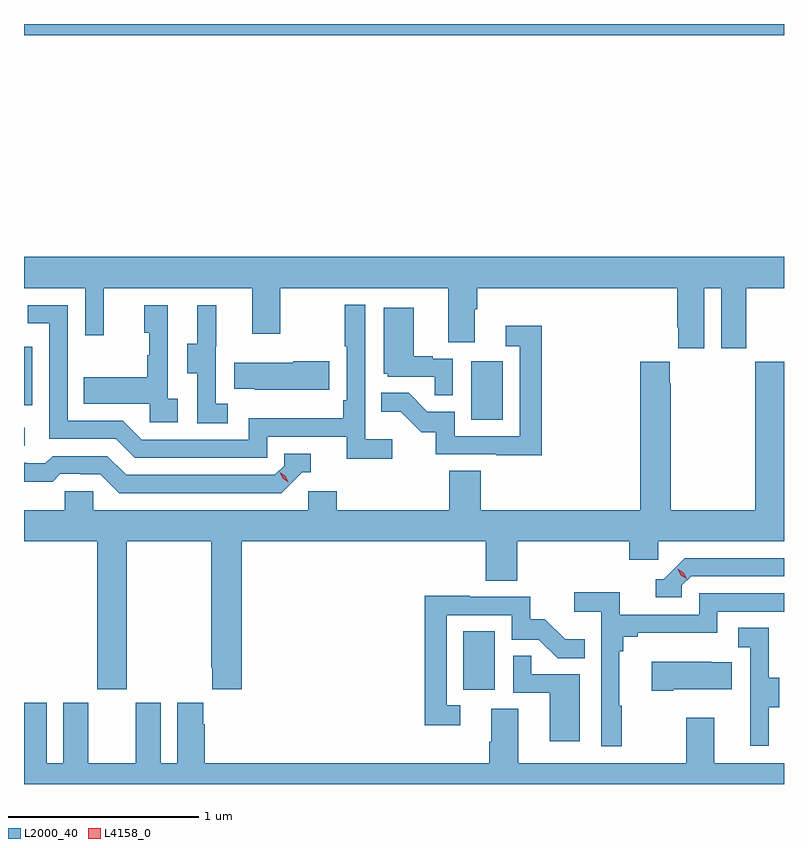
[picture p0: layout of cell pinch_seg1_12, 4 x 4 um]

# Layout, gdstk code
import gdstk
lib = gdstk.Library(unit=1e-6, precision=1e-09)
def R(c, l, rs):  # rectangles x0, y0, x1, y1
    for r in rs: c.add(gdstk.rectangle(r[:2], r[2:], *l))
def P(c, l, *ps):  # polygons
    for p in ps: c.add(gdstk.Polygon(p, *l))
L2000_40 = (2000, 40)
L4158_0 = (4158, 0)

pinch_seg1_12 = lib.new_cell('pinch_seg1_12')
R(pinch_seg1_12, L2000_40, [(1116.59,580.254,1116.754,580.561), (1114.277,581.538,1114.282,581.634), (1116.632,581.676,1116.796,581.983), (1114.277,581.751,1114.32,582.06), (1114.277,583.7,1118.277,583.758)])
P(pinch_seg1_12, L2000_40, [(1117.858,582.368),(1117.946,582.368),(1117.946,582.051),(1118.077,582.051),(1118.077,582.368),(1118.277,582.368),(1118.277,582.532),(1114.277,582.532),(1114.277,582.368),(1114.599,582.368),(1114.599,582.12),(1114.697,582.12),(1114.697,582.368),(1115.477,582.368),(1115.477,582.129),(1115.625,582.129),(1115.625,582.368),(1116.509,582.368),(1116.509,582.082),(1116.649,582.082),(1116.649,582.256),(1116.662,582.256),(1116.662,582.368),(1117.715,582.368),(1117.715,582.163),(1117.721,582.163),(1117.721,582.051),(1117.858,582.051)],
  [(1116.214,581.572),(1116.072,581.572),(1116.072,582.28),(1115.964,582.28),(1115.964,582.061),(1115.976,582.061),(1115.976,581.779),(1115.956,581.779),(1115.956,581.683),(1115.46,581.683),(1115.46,581.571),(1114.896,581.571),(1114.797,581.67),(1114.506,581.67),(1114.506,582.279),(1114.297,582.279),(1114.297,582.183),(1114.41,582.183),(1114.41,581.574),(1114.76,581.574),(1114.859,581.475),(1115.556,581.475),(1115.556,581.586),(1115.975,581.586),(1115.975,581.47),(1116.214,581.47)],
  [(1115.35,581.759),(1115.286,581.759),(1115.286,582.063),(1115.288,582.063),(1115.288,582.277),(1115.189,582.277),(1115.189,582.075),(1115.135,582.075),(1115.135,581.92),(1115.19,581.92),(1115.19,581.656),(1115.35,581.656)],
  [(1115.086,581.786),(1115.034,581.786),(1115.034,582.277),(1114.91,582.277),(1114.91,582.132),(1114.936,582.132),(1114.936,582.014),(1114.926,582.014),(1114.926,581.899),(1114.591,581.899),(1114.591,581.759),(1114.938,581.759),(1114.938,581.661),(1115.086,581.661)],
  [(1116.534,581.997),(1116.428,581.997),(1116.428,582.01),(1116.328,582.01),(1116.328,582.265),(1116.17,582.265),(1116.17,581.916),(1116.192,581.916),(1116.192,581.901),(1116.439,581.901),(1116.439,581.803),(1116.534,581.803)],
  [(1117.001,582.169),(1116.813,582.169),(1116.813,582.063),(1116.885,582.063),(1116.885,581.589),(1116.543,581.589),(1116.543,581.718),(1116.399,581.718),(1116.301,581.816),(1116.157,581.816),(1116.157,581.717),(1116.261,581.717),(1116.368,581.61),(1116.445,581.61),(1116.445,581.493),(1116.763,581.493),(1116.763,581.488),(1117.001,581.488)],
  [(1115.884,581.982),(1115.693,581.982),(1115.693,581.974),(1115.383,581.974),(1115.383,581.837),(1115.491,581.837),(1115.491,581.834),(1115.884,581.834)],
  [(1114.818,581.036),(1115.263,581.036),(1115.263,580.369),(1115.267,580.369),(1115.267,580.257),(1115.423,580.257),(1115.423,581.036),(1116.707,581.036),(1116.707,580.828),(1116.872,580.828),(1116.872,581.036),(1117.463,581.036),(1117.463,580.938),(1117.614,580.938),(1117.614,581.036),(1118.277,581.036),(1118.277,581.98),(1118.125,581.98),(1118.125,581.2),(1117.68,581.2),(1117.68,581.867),(1117.675,581.867),(1117.675,581.98),(1117.52,581.98),(1117.52,581.2),(1116.68,581.2),(1116.68,581.408),(1116.515,581.408),(1116.515,581.2),(1115.924,581.2),(1115.924,581.298),(1115.772,581.298),(1115.772,581.2),(1114.641,581.2),(1114.641,581.298),(1114.491,581.298),(1114.491,581.2),(1114.277,581.2),(1114.277,581.036),(1114.663,581.036),(1114.663,580.257),(1114.818,580.257)],
  [(1115.742,581.4),(1115.785,581.4),(1115.785,581.496),(1115.646,581.496),(1115.646,581.433),(1115.598,581.385),(1114.815,581.385),(1114.716,581.484),(1114.427,581.484),(1114.388,581.445),(1114.289,581.445),(1114.289,581.448),(1114.277,581.448),(1114.277,581.349),(1114.427,581.349),(1114.469,581.391),(1114.572,581.391),(1114.572,581.388),(1114.679,581.388),(1114.778,581.289),(1115.631,581.289)],
  [(1117.74,580.803),(1117.788,580.851),(1118.277,580.851),(1118.277,580.947),(1117.755,580.947),(1117.644,580.836),(1117.601,580.836),(1117.601,580.74),(1117.74,580.74)],
  [(1117.423,580.169),(1117.411,580.169),(1117.411,580.457),(1117.43,580.457),(1117.43,580.534),(1117.507,580.534),(1117.507,580.553),(1117.926,580.553),(1117.926,580.665),(1118.277,580.665),(1118.277,580.761),(1117.83,580.761),(1117.83,580.65),(1117.412,580.65),(1117.412,580.766),(1117.173,580.766),(1117.173,580.664),(1117.314,580.664),(1117.314,579.957),(1117.423,579.957)],
  [(1116.574,580.173),(1116.501,580.173),(1116.501,580.647),(1116.843,580.647),(1116.843,580.518),(1116.987,580.518),(1117.085,580.42),(1117.229,580.42),(1117.229,580.519),(1117.125,580.519),(1117.018,580.626),(1116.942,580.626),(1116.942,580.743),(1116.623,580.743),(1116.623,580.748),(1116.385,580.748),(1116.385,580.068),(1116.574,580.068)],
  [(1118.197,580.162),(1118.251,580.162),(1118.251,580.317),(1118.196,580.317),(1118.196,580.58),(1118.037,580.58),(1118.037,580.477),(1118.1,580.477),(1118.1,580.173),(1118.099,580.173),(1118.099,579.96),(1118.197,579.96)],
  [(1117.201,580.335),(1116.947,580.335),(1116.947,580.433),(1116.852,580.433),(1116.852,580.239),(1117.043,580.239),(1117.043,579.984),(1117.201,579.984)],
  [(1117.693,580.256),(1118.003,580.256),(1118.003,580.399),(1117.895,580.399),(1117.895,580.402),(1117.581,580.402),(1117.581,580.249),(1117.693,580.249)],
  [(1118.277,579.868),(1117.909,579.868),(1117.909,580.108),(1117.762,580.108),(1117.762,579.868),(1116.877,579.868),(1116.877,580.154),(1116.737,580.154),(1116.737,579.98),(1116.725,579.98),(1116.725,579.868),(1115.228,579.868),(1115.228,580.073),(1115.221,580.073),(1115.221,580.186),(1115.084,580.186),(1115.084,579.868),(1114.996,579.868),(1114.996,580.186),(1114.865,580.186),(1114.865,579.868),(1114.615,579.868),(1114.615,580.186),(1114.484,580.186),(1114.484,579.868),(1114.396,579.868),(1114.396,580.186),(1114.277,580.186),(1114.277,579.758),(1118.277,579.758)])
P(pinch_seg1_12, L4158_0, [(1115.669,581.346),(1115.638,581.366),(1115.622,581.399),(1115.622,581.4),(1115.623,581.4),(1115.653,581.38),(1115.669,581.346),(1115.669,581.346)],
  [(1117.765,580.838),(1117.734,580.858),(1117.719,580.891),(1117.719,580.891),(1117.719,580.891),(1117.75,580.871),(1117.765,580.838),(1117.765,580.838)])

lib.write_gds('pinch_seg1_12.gds')
